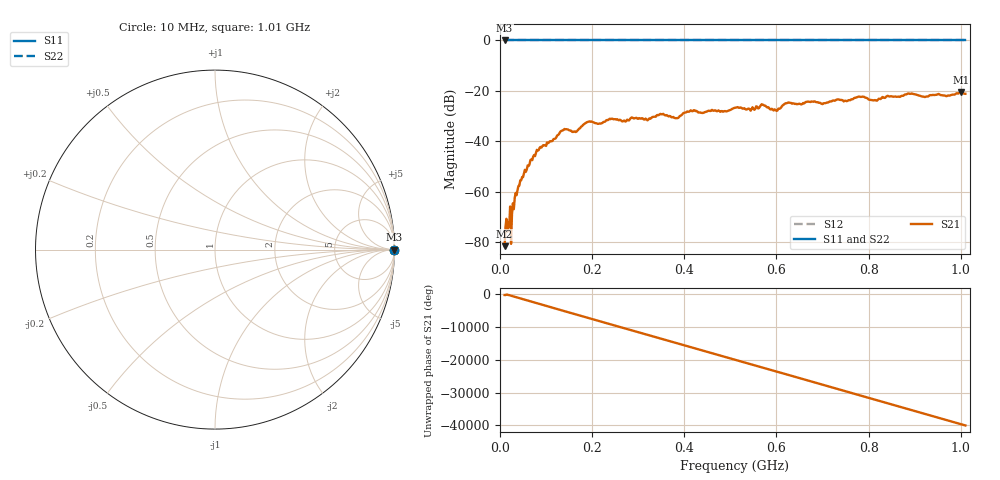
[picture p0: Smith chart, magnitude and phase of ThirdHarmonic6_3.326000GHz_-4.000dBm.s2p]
! 8/17/2025 10:26:00 AM
! C:\ANRITSUVNA\TEMP\TEMP.S2P
! CHANNEL.1
! TR.MEASUREMENT
! RAW.DATA
! RF.CORRECTION.OFF
! AVERAGING.OFF
! IF.BANDWIDTH: 5KHZ
! SWEEPTYPE:  FREQ.SWEEP(Linear)
! Reference Plane Port Info
! PORT:  PORT1  PORT2
! DISTANCE:  0  m  0  m
! TIME:  0  s  0  s
! PHASE.OFFSET:  0  deg.  0  deg.
! LOSS:  0  dB  0  dB
! REF.LOSS:  0  dB  0  dB
! REF.FREQ:  0  Hz  0  Hz
! Power Info
! POWER:  -20  dBm  -20  dBm
! EFF.POWER:  -20  dBm  -20  dBm
! SOURCE.ATTEN:  0  dB  0  dB
! TEST.ATTEN:  0  dB  0  dB
# GHZ S RI R 50.0
! FREQ.GHZ  S11RE  S11IM  S21RE  S21IM  S12RE  S12IM  S22RE  S22IM
!; PortSelection: Port_12
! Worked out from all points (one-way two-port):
!   501 points, 10 MHz to 1.01 GHz, reference 50 ohm
!   highest |S21| = -20.45 dB at 1 GHz (marker M1); lowest = -81.5 dB at 10 MHz (marker M2)
!   lowest |S11| = 0.0 dB at 10 MHz (marker M3)
!   |S11| at or under -10 dB: nowhere
!   |S22| runs from 0.0 to 0.0 dB; largest |S21 - S12| = 1.1
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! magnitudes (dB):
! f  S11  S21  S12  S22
! 10 MHz  0.0  -81.5  0.0  0.0
! 18 MHz  0.0  -71.9  0.0  0.0
! 20 MHz  0.0  -73.9  0.0  0.0
! 28 MHz  0.0  -64.5  0.0  0.0
! 32 MHz  0.0  -62.3  0.0  0.0
! 44 MHz  0.0  -55.4  0.0  0.0
! 76 MHz  0.0  -45.8  0.0  0.0
! 136 MHz  0.0  -35.7  0.0  0.0
! 162 MHz  0.0  -36.1  0.0  0.0
! 178 MHz  0.0  -34.0  0.0  0.0
! 194 MHz  0.0  -32.1  0.0  0.0
! 344 MHz  0.0  -29.6  0.0  0.0
! 384 MHz  0.0  -30.8  0.0  0.0
! 418 MHz  0.0  -28.0  0.0  0.0
! 510 MHz  0.0  -26.7  0.0  0.0
! 570 MHz  0.0  -25.4  0.0  0.0
! 598 MHz  0.0  -27.6  0.0  0.0
! 624 MHz  0.0  -24.8  0.0  0.0
! 678 MHz  0.0  -24.2  0.0  0.0
! 844 MHz  0.0  -22.2  0.0  0.0
! 1 GHz  0.0  -20.4  0.0  0.0
! 1.01 GHz  0.0  -21.1  0.0  0.0
